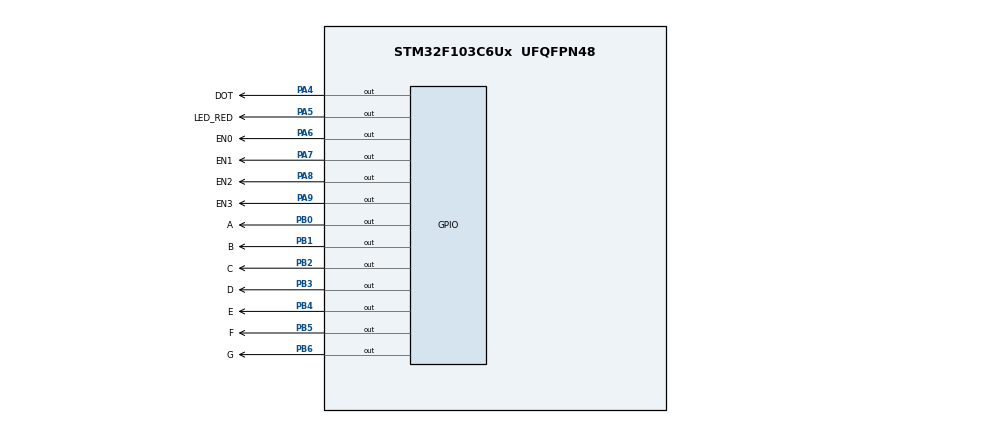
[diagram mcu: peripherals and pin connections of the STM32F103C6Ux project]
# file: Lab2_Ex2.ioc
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Mcu.Family=STM32F1
Mcu.Name=STM32F103C6Ux
Mcu.Package=UFQFPN48
NVIC.PriorityGroup=NVIC_PRIORITYGROUP_4
NVIC.TIM2_IRQn=true\:0\:0\:false\:false\:true\:true\:true\:true
PA4.GPIO_Label=DOT
PA4.Signal=GPIO_Output
PA5.GPIO_Label=LED_RED
PA5.Signal=GPIO_Output
PA6.GPIO_Label=EN0
PA6.Signal=GPIO_Output
PA7.GPIO_Label=EN1
PA7.Signal=GPIO_Output
PA8.GPIO_Label=EN2
PA8.Signal=GPIO_Output
PA9.GPIO_Label=EN3
PA9.Signal=GPIO_Output
PB0.GPIO_Label=A
PB0.Signal=GPIO_Output
PB1.GPIO_Label=B
PB1.Signal=GPIO_Output
PB2.GPIO_Label=C
PB2.Signal=GPIO_Output
PB3.GPIO_Label=D
PB3.Signal=GPIO_Output
PB4.GPIO_Label=E
PB4.Signal=GPIO_Output
PB5.GPIO_Label=F
PB5.Signal=GPIO_Output
PB6.GPIO_Label=G
PB6.Signal=GPIO_Output
ProjectManager.HeapSize=0x200
ProjectManager.StackSize=0x400
ProjectManager.TargetToolchain=STM32CubeIDE
RCC.APB1Freq_Value=8000000
RCC.APB2Freq_Value=8000000
TIM2.Period=9
TIM2.Prescaler=7999
VP_SYS_VS_ND.Mode=No_Debug
VP_TIM2_VS_ClockSourceINT.Mode=Internal
board=custom

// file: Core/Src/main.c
/* USER CODE BEGIN Header */
/**
  ******************************************************************************
  * @file           : main.c
  * @brief          : Main program body
  ******************************************************************************
  * @attention
  *
  * Copyright (c) 2022 STMicroelectronics.
  * All rights reserved.
  *
  * This software is licensed under terms that can be found in the LICENSE file
  * in the root directory of this software component.
  * If no LICENSE file comes with this software, it is provided AS-IS.
  *
  ******************************************************************************
  */
/* USER CODE END Header */
#include "main.h"
#include "4SEG_control.h"

TIM_HandleTypeDef htim2;

void SystemClock_Config(void);
static void MX_GPIO_Init(void);
static void MX_TIM2_Init(void);

int main(void)
{

  /* MCU Configuration--------------------------------------------------------*/

  /* Reset of all peripherals, Initializes the Flash interface and the Systick. */
  HAL_Init();

  /* Configure the system clock */
  SystemClock_Config();

  /* Initialize all configured peripherals */
  MX_GPIO_Init();
  MX_TIM2_Init();
  /* USER CODE BEGIN 2 */
  HAL_TIM_Base_Start_IT (& htim2 );
  /* USER CODE END 2 */

  /* Infinite loop */
  while (1)
  {

  }
}

void SystemClock_Config(void)
{
  RCC_OscInitTypeDef RCC_OscInitStruct = {0};
  RCC_ClkInitTypeDef RCC_ClkInitStruct = {0};

  /** Initializes the RCC Oscillators according to the specified parameters
  * in the RCC_OscInitTypeDef structure.
  */
  RCC_OscInitStruct.OscillatorType = RCC_OSCILLATORTYPE_HSI;
  RCC_OscInitStruct.HSIState = RCC_HSI_ON;
  RCC_OscInitStruct.HSICalibrationValue = RCC_HSICALIBRATION_DEFAULT;
  RCC_OscInitStruct.PLL.PLLState = RCC_PLL_NONE;
  if (HAL_RCC_OscConfig(&RCC_OscInitStruct) != HAL_OK)
  {
    Error_Handler();
  }

  /** Initializes the CPU, AHB and APB buses clocks
  */
  RCC_ClkInitStruct.ClockType = RCC_CLOCKTYPE_HCLK|RCC_CLOCKTYPE_SYSCLK
                              |RCC_CLOCKTYPE_PCLK1|RCC_CLOCKTYPE_PCLK2;
  RCC_ClkInitStruct.SYSCLKSource = RCC_SYSCLKSOURCE_HSI;
  RCC_ClkInitStruct.AHBCLKDivider = RCC_SYSCLK_DIV1;
  RCC_ClkInitStruct.APB1CLKDivider = RCC_HCLK_DIV1;
  RCC_ClkInitStruct.APB2CLKDivider = RCC_HCLK_DIV1;

  if (HAL_RCC_ClockConfig(&RCC_ClkInitStruct, FLASH_LATENCY_0) != HAL_OK)
  {
    Error_Handler();
  }
}

static void MX_TIM2_Init(void)
{

  TIM_ClockConfigTypeDef sClockSourceConfig = {0};
  TIM_MasterConfigTypeDef sMasterConfig = {0};

  htim2.Instance = TIM2;
  htim2.Init.Prescaler = 7999;
  htim2.Init.CounterMode = TIM_COUNTERMODE_UP;
  htim2.Init.Period = 9;
  htim2.Init.ClockDivision = TIM_CLOCKDIVISION_DIV1;
  htim2.Init.AutoReloadPreload = TIM_AUTORELOAD_PRELOAD_DISABLE;
  if (HAL_TIM_Base_Init(&htim2) != HAL_OK)
  {
    Error_Handler();
  }
  sClockSourceConfig.ClockSource = TIM_CLOCKSOURCE_INTERNAL;
  if (HAL_TIM_ConfigClockSource(&htim2, &sClockSourceConfig) != HAL_OK)
  {
    Error_Handler();
  }
  sMasterConfig.MasterOutputTrigger = TIM_TRGO_RESET;
  sMasterConfig.MasterSlaveMode = TIM_MASTERSLAVEMODE_DISABLE;
  if (HAL_TIMEx_MasterConfigSynchronization(&htim2, &sMasterConfig) != HAL_OK)
  {
    Error_Handler();
  }

}

static void MX_GPIO_Init(void)
{
  GPIO_InitTypeDef GPIO_InitStruct = {0};

  /* GPIO Ports Clock Enable */
  __HAL_RCC_GPIOA_CLK_ENABLE();
  __HAL_RCC_GPIOB_CLK_ENABLE();

  /*Configure GPIO pin Output Level */
  HAL_GPIO_WritePin(GPIOA, DOT_Pin|LED_RED_Pin|EN0_Pin|EN1_Pin
                          |EN2_Pin|EN3_Pin, GPIO_PIN_RESET);

  /*Configure GPIO pin Output Level */
  HAL_GPIO_WritePin(GPIOB, A_Pin|B_Pin|C_Pin|D_Pin
                          |E_Pin|F_Pin|G_Pin, GPIO_PIN_RESET);

  /*Configure GPIO pins : DOT_Pin LED_RED_Pin EN0_Pin EN1_Pin
                           EN2_Pin EN3_Pin */
  GPIO_InitStruct.Pin = DOT_Pin|LED_RED_Pin|EN0_Pin|EN1_Pin
                          |EN2_Pin|EN3_Pin;
  GPIO_InitStruct.Mode = GPIO_MODE_OUTPUT_PP;
  GPIO_InitStruct.Pull = GPIO_NOPULL;
  GPIO_InitStruct.Speed = GPIO_SPEED_FREQ_LOW;
  HAL_GPIO_Init(GPIOA, &GPIO_InitStruct);

  /*Configure GPIO pins : A_Pin B_Pin C_Pin D_Pin
                           E_Pin F_Pin G_Pin */
  GPIO_InitStruct.Pin = A_Pin|B_Pin|C_Pin|D_Pin
                          |E_Pin|F_Pin|G_Pin;
  GPIO_InitStruct.Mode = GPIO_MODE_OUTPUT_PP;
  GPIO_InitStruct.Pull = GPIO_NOPULL;
  GPIO_InitStruct.Speed = GPIO_SPEED_FREQ_LOW;
  HAL_GPIO_Init(GPIOB, &GPIO_InitStruct);

}

/* USER CODE BEGIN 4 */
int counter1 = 200;
int counter2 = 50;
int indx = 0;
int num[4] = {0,0,0,0};

void HAL_TIM_PeriodElapsedCallback(TIM_HandleTypeDef *htim){
	if(counter1>0){
		counter1--;
		if(counter1<=0) {
			counter1 = 200;
			//TODO1
			num[3]++;
			for(int i = 3; i>0; i--){
				if(num[i]>=10) {
					num[i] = 0;
					num[i-1]++;
				}
			}
			//TODO2
			HAL_GPIO_TogglePin(DOT_GPIO_Port, DOT_Pin);
		}
	}
	if(counter2>0){
		counter2--;
		if(counter2<=0) {
			counter2 = 50;
			//TODO
			indx++;
			if(indx >= 4) indx = 0;
			SEGS_control(indx, num[indx]);
		}
	}
}

/* USER CODE END 4 */

void Error_Handler(void)
{
  __disable_irq();
  while (1)
  {
  }
}
